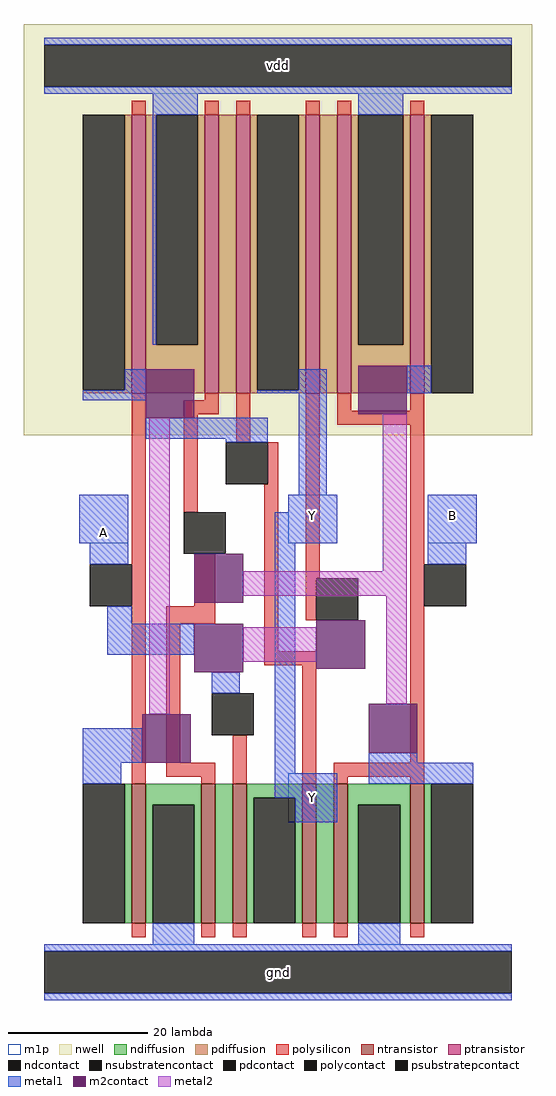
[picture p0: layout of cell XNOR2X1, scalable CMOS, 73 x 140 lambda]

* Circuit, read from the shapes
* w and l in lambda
.subckt XNOR2X1 A B Y vdd gnd
M1 gnd A n1 gnd nfet w=20 l=2
M2 n2 n3 gnd gnd nfet w=20 l=2
M3 Y A n2 gnd nfet w=20 l=2
M4 n4 n1 Y gnd nfet w=20 l=2
M5 gnd B n4 gnd nfet w=20 l=2
M6 n3 B gnd gnd nfet w=20 l=2
M7 vdd A n1 vdd pfet w=40 l=2
M8 n5 n3 vdd vdd pfet w=40 l=2
M9 Y n1 n5 vdd pfet w=40 l=2
M10 n6 A Y vdd pfet w=40 l=2
M11 vdd B n6 vdd pfet w=40 l=2
M12 n3 B vdd vdd pfet w=40 l=2
.ends

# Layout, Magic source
magic
tech scmos
magscale 1 2
<< nwell >>
rect -13 154 133 272
<< ntransistor >>
rect 18 14 22 54
rect 38 14 42 54
rect 47 14 51 54
rect 67 14 71 54
rect 76 14 80 54
rect 98 14 102 54
<< ptransistor >>
rect 18 166 22 246
rect 39 166 43 246
rect 48 166 52 246
rect 68 166 72 246
rect 77 166 81 246
rect 98 166 102 246
<< ndiffusion >>
rect 16 14 18 54
rect 22 48 38 54
rect 22 14 24 48
rect 36 14 38 48
rect 42 14 47 54
rect 51 50 67 54
rect 51 14 53 50
rect 65 14 67 50
rect 71 14 76 54
rect 80 48 98 54
rect 80 14 83 48
rect 95 14 98 48
rect 102 14 104 54
<< pdiffusion >>
rect 16 167 18 246
rect 4 166 18 167
rect 22 180 25 246
rect 37 180 39 246
rect 22 166 39 180
rect 43 166 48 246
rect 52 167 54 246
rect 66 167 68 246
rect 52 166 68 167
rect 72 166 77 246
rect 81 180 83 246
rect 96 180 98 246
rect 81 166 98 180
rect 102 166 104 246
<< ndcontact >>
rect 4 14 16 54
rect 24 14 36 48
rect 53 14 65 50
rect 83 14 95 48
rect 104 14 116 54
<< pdcontact >>
rect 4 167 16 246
rect 25 180 37 246
rect 54 167 66 246
rect 83 180 96 246
rect 104 166 116 246
<< psubstratepcontact >>
rect -7 -6 127 6
<< nsubstratencontact >>
rect -7 254 127 266
<< polysilicon >>
rect 18 246 22 250
rect 39 246 43 250
rect 48 246 52 250
rect 68 246 72 250
rect 77 246 81 250
rect 98 246 102 250
rect 18 54 22 166
rect 39 164 43 166
rect 33 160 43 164
rect 33 132 37 160
rect 48 152 52 166
rect 57 140 60 152
rect 36 105 42 120
rect 28 100 42 105
rect 28 60 32 100
rect 56 92 60 140
rect 68 113 72 166
rect 77 161 81 166
rect 98 161 102 166
rect 77 157 102 161
rect 68 101 71 113
rect 56 88 71 92
rect 28 56 42 60
rect 38 54 42 56
rect 47 54 51 68
rect 67 54 71 88
rect 98 60 102 157
rect 76 56 102 60
rect 76 54 80 56
rect 98 54 102 56
rect 18 10 22 14
rect 38 10 42 14
rect 47 10 51 14
rect 67 10 71 14
rect 76 10 80 14
rect 98 10 102 14
<< polycontact >>
rect 6 105 18 117
rect 45 140 57 152
rect 33 120 45 132
rect 71 101 83 113
rect 41 68 53 80
rect 102 105 114 117
<< metal1 >>
rect -7 266 127 268
rect -7 252 127 254
rect 24 246 37 252
rect 83 246 96 252
rect 24 180 25 246
rect 16 167 22 173
rect 4 164 22 167
rect 66 167 74 173
rect 54 166 74 167
rect 22 153 57 159
rect 45 152 57 153
rect 66 137 74 166
rect 97 166 104 174
rect 3 123 17 137
rect 63 132 77 137
rect 6 117 17 123
rect 59 123 77 132
rect 103 123 117 137
rect 11 100 18 105
rect 11 91 36 100
rect 41 80 49 86
rect 4 60 21 70
rect 4 54 15 60
rect 59 57 65 123
rect 103 117 114 123
rect 86 60 100 63
rect 59 50 77 57
rect 86 54 116 60
rect 65 43 77 50
rect 24 8 36 14
rect 83 8 95 14
rect -7 6 127 8
rect -7 -8 127 -6
<< m2contact >>
rect 22 159 36 173
rect 83 160 97 174
rect 36 106 50 120
rect 36 86 50 100
rect 21 60 35 74
rect 71 87 85 101
rect 86 63 100 77
<< metal2 >>
rect 23 74 29 159
rect 90 115 97 160
rect 50 108 97 115
rect 50 89 71 99
rect 91 77 97 108
<< m1p >>
rect -7 252 127 268
rect 3 123 17 137
rect 63 123 77 137
rect 103 123 117 137
rect 63 43 77 57
rect -7 -8 127 8
<< labels >>
rlabel nsubstratencontact 60 260 60 260 0 vdd
port 4 nsew power bidirectional abutment
rlabel psubstratepcontact 60 0 60 0 0 gnd
port 5 nsew ground bidirectional abutment
rlabel metal1 10 126 10 126 0 A
port 1 nsew signal input
rlabel metal1 70 131 70 131 0 Y
port 3 nsew signal output
rlabel metal1 110 131 110 131 0 B
port 2 nsew signal input
rlabel metal1 70 50 70 50 0 Y
port 3 nsew signal output
<< properties >>
string FIXED_BBOX 0 0 120 260
string LEFclass CORE
string LEFsite core
string LEFsymmetry X Y
<< end >>
